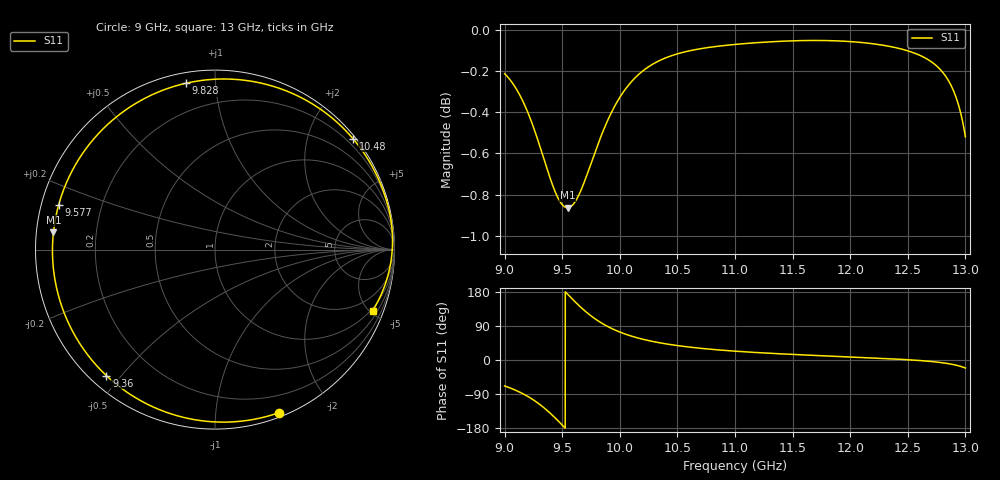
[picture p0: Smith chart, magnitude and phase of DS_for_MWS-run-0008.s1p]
! TOUCHSTONE file generated by CST DESIGN STUDIO
! Date and time: Tue Feb  4 12:50:22 2025
! Project name: C:\Work\MatlabApps\UnitCellOptimizationMatlab\CST\unitcell.cst
! Tree item: Tasks\Sweep1\SPara1\S-Parameters
! Header version: 2024
! Port assignment regex: !\s*Touchstone port\s*([0-9]+)\s*=\s*(CST MWS port|CST DES external port|CST DES block port)\s*(.+)\s* \(\"(.*)\"\)(\s*mode\s*([0-9]+))?.*
! Touchstone port assignment:
! Touchstone port 1 = CST DES external port 1 ("")
# GHz S MA R 50
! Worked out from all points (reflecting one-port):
!   4001 points, 9 GHz to 13 GHz, reference 50 ohm
!   lowest |S11| = -0.9 dB at 9.546 GHz (marker M1), VSWR 20.11, Z = 2.49 + j2.66 ohm
!   phase of S11 starts at -69 deg and turns -313 deg over the sweep
!   S11 on the Smith chart (normalised r, x): 9 GHz: 0.04, -1.47; 9.36 GHz: 0.05, -0.46; 9.577 GHz: 0.05, +0.14; 9.828 GHz: 0.05, +0.84; 10.48 GHz: 0.06, +2.84; 13 GHz: 0.86, -5.21
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9  0.9759 -68.5
9.101  0.9676 -80.6
9.212  0.9533 -98.1
9.289  0.9402 -113.6
9.36  0.9268 -130.7
9.436  0.9139 -152.0
9.5  0.9069 -171.6
9.546  0.9053 173.9
9.577  0.906 164.2
9.642  0.9115 144.7
9.701  0.9199 128.5
9.762  0.93 113.7
9.828  0.9409 100.0
9.905  0.952 86.8
10  0.963 73.8
10.099  0.9713 63.2
10.209  0.9778 54.1
10.335  0.9827 46.0
10.482  0.9864 38.8
10.5  0.9867 38.0
10.72  0.9898 30.3
11  0.992 23.3
11.5  0.994 14.7
12  0.9935 8.1
12.5  0.9884 0.7
12.805  0.9764 -7.5
12.905  0.9653 -12.7
13  0.942 -21.2
